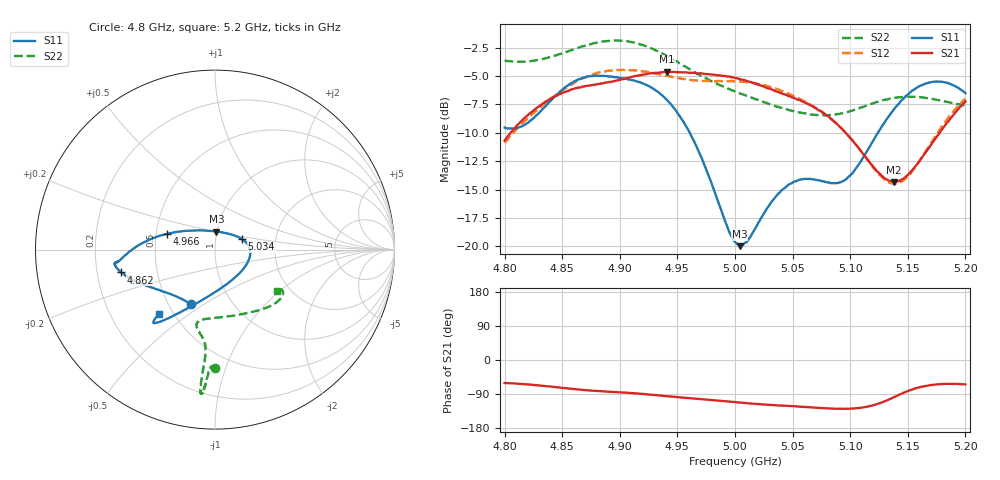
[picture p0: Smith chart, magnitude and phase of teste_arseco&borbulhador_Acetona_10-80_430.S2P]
! Network Analyzer HP8722D
! Hewlett-Packard
! Data name: Linha & Wilkinson
! Saver's name: Rodrigo Anjos
! Comments: Teste da utilização de aquisição
! continua pelo VNA HP8722D
! Time and date: 17/4/2025 17:56
!  Frequency  S11  S21  S12  S22
# HZ  S  MA R 50
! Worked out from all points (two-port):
!   401 points, 4.8 GHz to 5.2 GHz, reference 50 ohm
!   highest |S21| = -4.62 dB at 4.941 GHz (marker M1); lowest = -14.3 dB at 5.138 GHz (marker M2)
!   |S21| within 3 dB of the highest: 4.83 GHz to 5.067 GHz (236.3 MHz wide, 4.78 % of centre); 5.196441 GHz to end of sweep
!   lowest |S11| = -20.0 dB at 5.004 GHz (marker M3), VSWR 1.22, Z = 49.8 + j10 ohm
!   |S11| at or under -10 dB: 4.961 GHz to 5.124 GHz (163.2 MHz wide, 3.24 % of centre)
!   |S22| runs from -8.5 to -1.9 dB; largest |S21 - S12| = 0.88
!   S11 on the Smith chart (normalised r, x): 4.8 GHz: 0.65, -0.44; 4.862 GHz: 0.30, -0.11; 4.966 GHz: 0.57, +0.11; 5.034 GHz: 1.35, +0.16; 5.2 GHz: 0.42, -0.39
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4.8e9  0.3333 -113.5  0.2919 -60.8  0.2861 -174.9  0.6579 -90.0
4.819e9  0.3478 -133.6  0.3741 -64.1  0.362 -173.8  0.6528 -91.7
4.862e9  0.5375 -166.3  0.4981 -77.2  0.5323 -177.0  0.7438 -93.9
4.867e9  0.5501 -168.2  0.5041 -78.7  0.5464 -178.0  0.7587 -94.1
4.9e9  0.5521 -172.8  0.5404 -85.3  0.5976 175.5  0.8044 -95.5
4.934e9  0.4755 -178.8  0.5813 -93.6  0.5753 171.8  0.7174 -96.0
4.941e9  0.4407 178.1  0.5872 -95.5  0.5632 171.8  0.6889 -95.8
4.966e9  0.2792 161.7  0.5796 -102.0  0.5381 173.8  0.5813 -95.1
5e9  0.1045 98.8  0.5516 -111.1  0.5337 176.1  0.4813 -99.4
5.004e9  0.1002 85.2  0.5463 -112.0  0.533 176.0  0.4727 -100.2
5.012e9  0.108 59.7  0.5309 -114.3  0.5273 176.0  0.4568 -102.0
5.034e9  0.1621 20.7  0.485 -119.3  0.497 174.8  0.4168 -103.6
5.05e9  0.1909 4.5  0.4524 -122.0  0.4604 174.0  0.3943 -99.7
5.067e9  0.1973 -13.8  0.4153 -125.1  0.4167 173.5  0.3806 -90.7
5.087e9  0.1896 -46.2  0.3514 -128.6  0.3507 173.5  0.3806 -75.4
5.097e9  0.1982 -66.7  0.3123 -128.7  0.3121 174.7  0.3899 -67.1
5.134e9  0.3768 -116.9  0.1945 -103.7  0.1907 -156.6  0.4466 -42.9
5.138e9  0.4022 -119.2  0.1922 -98.1  0.1889 -150.4  0.4501 -41.1
5.151e9  0.4709 -124.9  0.2088 -80.9  0.2064 -130.3  0.4562 -36.4
5.17e9  0.5284 -129.3  0.2791 -66.2  0.2842 -112.3  0.4468 -32.0
5.184e9  0.525 -130.6  0.3502 -63.0  0.362 -107.3  0.4329 -31.0
5.2e9  0.4727 -131.0  0.435 -64.4  0.4465 -106.5  0.4162 -33.4
